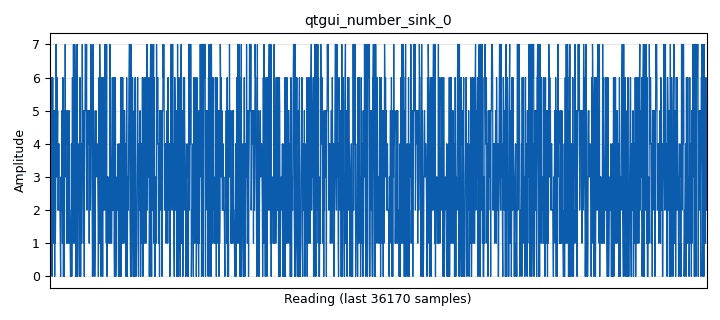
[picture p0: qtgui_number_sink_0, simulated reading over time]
<?xml version='1.0' encoding='utf-8'?>
<?grc format='1' created='3.7.10'?>
<flow_graph>
<block>
<key>options</key>
<param><key>id</key><value>top_block</value></param>
<param><key>generate_options</key><value>qt_gui</value></param>
</block>
<block>
<key>variable</key>
<param><key>id</key><value>const_points</value></param>
<param><key>value</key><value>4</value></param>
</block>
<block>
<key>variable</key>
<param><key>id</key><value>excess_bw</value></param>
<param><key>value</key><value>0.4</value></param>
</block>
<block>
<key>variable</key>
<param><key>id</key><value>nfilts</value></param>
<param><key>value</key><value>32</value></param>
</block>
<block>
<key>variable</key>
<param><key>id</key><value>ntaps</value></param>
<param><key>value</key><value>11*nfilts*sps</value></param>
</block>
<block>
<key>variable</key>
<param><key>id</key><value>samp_rate</value></param>
<param><key>value</key><value>20000*sps</value></param>
</block>
<block>
<key>variable</key>
<param><key>id</key><value>sps</value></param>
<param><key>value</key><value>3</value></param>
</block>
<block>
<key>variable</key>
<param><key>id</key><value>tx_taps</value></param>
<param><key>value</key><value>firdes.root_raised_cosine(nfilts,nfilts,1.1,excess_bw,ntaps)</value></param>
</block>
<block>
<key>analog_random_source_x</key>
<param><key>id</key><value>analog_random_source_x_0</value></param>
<param><key>max</key><value>8</value></param>
<param><key>min</key><value>0</value></param>
<param><key>num_samps</key><value>1000</value></param>
<param><key>type</key><value>int</value></param>
<param><key>repeat</key><value>True</value></param>
</block>
<block>
<key>blocks_throttle</key>
<param><key>id</key><value>blocks_throttle_0</value></param>
<param><key>_enabled</key><value>0</value></param>
<param><key>samples_per_second</key><value>samp_rate*3</value></param>
<param><key>type</key><value>complex</value></param>
</block>
<block>
<key>import</key>
<param><key>id</key><value>digital</value></param>
<param><key>import</key><value>from gnuradio import digital</value></param>
</block>
<block>
<key>digital_chunks_to_symbols_xx</key>
<param><key>id</key><value>digital_chunks_to_symbols_xx_0</value></param>
<param><key>dimension</key><value>1</value></param>
<param><key>_enabled</key><value>0</value></param>
<param><key>in_type</key><value>int</value></param>
<param><key>out_type</key><value>complex</value></param>
<param><key>symbol_table</key><value>((1), (-1), (1j), (-1j), (0.707-0.707j),(0.707+0.707j),(-0.707+0.707j),(-0.707-0.707j))</value></param>
</block>
<block>
<key>import</key>
<param><key>id</key><value>filt</value></param>
<param><key>import</key><value>from gnuradio import filter</value></param>
</block>
<block>
<key>pfb_arb_resampler_xxx</key>
<param><key>id</key><value>pfb_arb_resampler_xxx_0</value></param>
<param><key>_enabled</key><value>0</value></param>
<param><key>nfilts</key><value>32</value></param>
<param><key>rrate</key><value>sps</value></param>
<param><key>atten</key><value>100</value></param>
<param><key>taps</key><value>tx_taps</value></param>
<param><key>type</key><value>ccf</value></param>
</block>
<block>
<key>import</key>
<param><key>id</key><value>pi</value></param>
<param><key>import</key><value>from math import pi</value></param>
</block>
<block>
<key>qtgui_const_sink_x</key>
<param><key>id</key><value>qtgui_const_sink_x_0</value></param>
<param><key>_enabled</key><value>0</value></param>
<param><key>size</key><value>1024</value></param>
<param><key>type</key><value>complex</value></param>
<param><key>ymax</key><value>8/7</value></param>
<param><key>ymin</key><value>-8/7</value></param>
</block>
<block>
<key>qtgui_const_sink_x</key>
<param><key>id</key><value>qtgui_const_sink_x_0_0</value></param>
<param><key>_enabled</key><value>0</value></param>
<param><key>size</key><value>1024</value></param>
<param><key>type</key><value>complex</value></param>
<param><key>ymax</key><value>8/7</value></param>
<param><key>ymin</key><value>-8/7</value></param>
</block>
<block>
<key>qtgui_number_sink</key>
<param><key>id</key><value>qtgui_number_sink_0</value></param>
<param><key>graph_type</key><value>qtgui.NUM_GRAPH_HORIZ</value></param>
<param><key>type</key><value>int</value></param>
</block>
<connection><source_block_id>analog_random_source_x_0</source_block_id><sink_block_id>digital_chunks_to_symbols_xx_0</sink_block_id><source_key>0</source_key><sink_key>0</sink_key></connection>
<connection><source_block_id>analog_random_source_x_0</source_block_id><sink_block_id>qtgui_number_sink_0</sink_block_id><source_key>0</source_key><sink_key>0</sink_key></connection>
<connection><source_block_id>blocks_throttle_0</source_block_id><sink_block_id>qtgui_const_sink_x_0_0</sink_block_id><source_key>0</source_key><sink_key>0</sink_key></connection>
<connection><source_block_id>digital_chunks_to_symbols_xx_0</source_block_id><sink_block_id>pfb_arb_resampler_xxx_0</sink_block_id><source_key>0</source_key><sink_key>0</sink_key></connection>
<connection><source_block_id>digital_chunks_to_symbols_xx_0</source_block_id><sink_block_id>qtgui_const_sink_x_0</sink_block_id><source_key>0</source_key><sink_key>0</sink_key></connection>
<connection><source_block_id>pfb_arb_resampler_xxx_0</source_block_id><sink_block_id>blocks_throttle_0</sink_block_id><source_key>0</source_key><sink_key>0</sink_key></connection>
</flow_graph>
